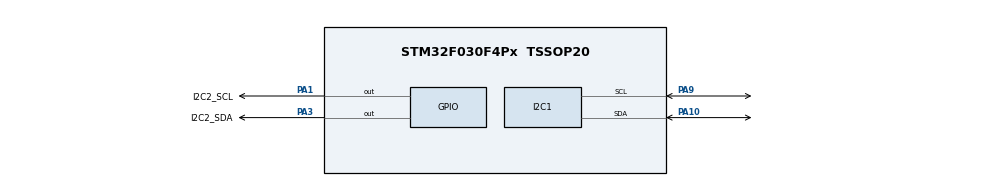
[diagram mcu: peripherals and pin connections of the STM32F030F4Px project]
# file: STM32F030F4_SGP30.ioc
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I2C1.I2C_Fall_Time=100
I2C1.I2C_Rise_Time=100
I2C1.Timing=0x00201D2B
Mcu.Family=STM32F0
Mcu.Name=STM32F030F4Px
Mcu.Package=TSSOP20
PA1.GPIO_Label=I2C2_SCL
PA1.Signal=GPIO_Output
PA10.Mode=I2C
PA10.Signal=I2C1_SDA
PA13.GPIO_Label=SWDIO
PA13.Mode=Serial_Wire
PA13.Signal=SYS_SWDIO
PA14.GPIO_Label=SWCLK
PA14.Mode=Serial_Wire
PA14.Signal=SYS_SWCLK
PA3.GPIO_Label=I2C2_SDA
PA3.Signal=GPIO_Output
PA9.Mode=I2C
PA9.Signal=I2C1_SCL
ProjectManager.HeapSize=0x200
ProjectManager.StackSize=0x400
ProjectManager.TargetToolchain=MDK-ARM V5.27
board=custom

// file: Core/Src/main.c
/* USER CODE BEGIN Header */
/**
  ******************************************************************************
  * @file           : main.c
  * @brief          : Main program body
  ******************************************************************************
  * @attention
  *
  * <h2><center>&copy; Copyright (c) 2021 STMicroelectronics.
  * All rights reserved.</center></h2>
  *
  * This software component is licensed by ST under BSD 3-Clause license,
  * the "License"; You may not use this file except in compliance with the
  * License. You may obtain a copy of the License at:
  *                        opensource.org/licenses/BSD-3-Clause
  *
  ******************************************************************************
  */
/* USER CODE END Header */
#include "main.h"

/* USER CODE BEGIN Includes */
#include "sgp30.h"
#include "stdlib.h"
/* USER CODE END Includes */

/* USER CODE BEGIN PM */
#define master_command_request_readings 0xC
/* USER CODE END PM */

I2C_HandleTypeDef hi2c1;

/* USER CODE BEGIN PV */
uint16_t received_data_size = 7;																																																		//Need to be confirmed. The address included in or not.
uint16_t transmitted_data_size = 7;
uint32_t receiver_timeout = 10000;
uint32_t transmitter_timeout = 10000;
/* USER CODE END PV */

void SystemClock_Config(void);
static void MX_GPIO_Init(void);
static void MX_I2C1_Init(void);
/* USER CODE BEGIN PFP */
void transmit_to_master(uint16_t tvoc_ppb, uint16_t co2_eq_ppm);
/* USER CODE END PFP */

int main(void)
{

  /* MCU Configuration--------------------------------------------------------*/

  /* Reset of all peripherals, Initializes the Flash interface and the Systick. */
  HAL_Init();

  /* Configure the system clock */
  SystemClock_Config();

  /* Initialize all configured peripherals */
  MX_GPIO_Init();
  MX_I2C1_Init();
  /* USER CODE BEGIN 2 */
	s16 check = sgp_probe();
  /* USER CODE END 2 */

  /* Infinite loop */
  /* USER CODE BEGIN WHILE */
	uint8_t received_data[received_data_size];
	uint16_t tvoc_ppb, co2_eq_ppm;
	uint8_t blank_data[7] = {0, 0, 0, 0, 0, 0, 0};

	//Test.
	//sgp_measure_iaq_blocking_read(&tvoc_ppb, &co2_eq_ppm);
	//transmit_to_master(tvoc_ppb, co2_eq_ppm);

  while (1)
  {
    /* USER CODE END WHILE */
		HAL_I2C_Slave_Receive(&hi2c1, received_data, received_data_size, receiver_timeout);
		switch(received_data[1]){																																																		//Need to be confirmed. The address included in or not.
			case master_command_request_readings:
				sgp_measure_iaq_blocking_read(&tvoc_ppb, &co2_eq_ppm);
				transmit_to_master(tvoc_ppb, co2_eq_ppm);
				break;
			default:
				// Send blank data by default.
				HAL_I2C_Slave_Transmit(&hi2c1, blank_data, transmitted_data_size, transmitter_timeout);
		}

  }
}

void SystemClock_Config(void)
{
  RCC_OscInitTypeDef RCC_OscInitStruct = {0};
  RCC_ClkInitTypeDef RCC_ClkInitStruct = {0};
  RCC_PeriphCLKInitTypeDef PeriphClkInit = {0};

  /** Initializes the RCC Oscillators according to the specified parameters
  * in the RCC_OscInitTypeDef structure.
  */
  RCC_OscInitStruct.OscillatorType = RCC_OSCILLATORTYPE_HSI;
  RCC_OscInitStruct.HSIState = RCC_HSI_ON;
  RCC_OscInitStruct.HSICalibrationValue = RCC_HSICALIBRATION_DEFAULT;
  RCC_OscInitStruct.PLL.PLLState = RCC_PLL_NONE;
  if (HAL_RCC_OscConfig(&RCC_OscInitStruct) != HAL_OK)
  {
    Error_Handler();
  }
  /** Initializes the CPU, AHB and APB buses clocks
  */
  RCC_ClkInitStruct.ClockType = RCC_CLOCKTYPE_HCLK|RCC_CLOCKTYPE_SYSCLK
                              |RCC_CLOCKTYPE_PCLK1;
  RCC_ClkInitStruct.SYSCLKSource = RCC_SYSCLKSOURCE_HSI;
  RCC_ClkInitStruct.AHBCLKDivider = RCC_SYSCLK_DIV1;
  RCC_ClkInitStruct.APB1CLKDivider = RCC_HCLK_DIV1;

  if (HAL_RCC_ClockConfig(&RCC_ClkInitStruct, FLASH_LATENCY_0) != HAL_OK)
  {
    Error_Handler();
  }
  PeriphClkInit.PeriphClockSelection = RCC_PERIPHCLK_I2C1;
  PeriphClkInit.I2c1ClockSelection = RCC_I2C1CLKSOURCE_HSI;
  if (HAL_RCCEx_PeriphCLKConfig(&PeriphClkInit) != HAL_OK)
  {
    Error_Handler();
  }
}

static void MX_I2C1_Init(void)
{

  hi2c1.Instance = I2C1;
  hi2c1.Init.Timing = 0x00201D2B;
  hi2c1.Init.OwnAddress1 = 0;																																																																						//Unknown address.
  hi2c1.Init.AddressingMode = I2C_ADDRESSINGMODE_7BIT;
  hi2c1.Init.DualAddressMode = I2C_DUALADDRESS_DISABLE;
  hi2c1.Init.OwnAddress2 = 0;
  hi2c1.Init.OwnAddress2Masks = I2C_OA2_NOMASK;
  hi2c1.Init.GeneralCallMode = I2C_GENERALCALL_DISABLE;
  hi2c1.Init.NoStretchMode = I2C_NOSTRETCH_DISABLE;
  if (HAL_I2C_Init(&hi2c1) != HAL_OK)
  {
    Error_Handler();
  }
  /** Configure Analogue filter
  */
  if (HAL_I2CEx_ConfigAnalogFilter(&hi2c1, I2C_ANALOGFILTER_ENABLE) != HAL_OK)
  {
    Error_Handler();
  }
  /** Configure Digital filter
  */
  if (HAL_I2CEx_ConfigDigitalFilter(&hi2c1, 0) != HAL_OK)
  {
    Error_Handler();
  }

}

static void MX_GPIO_Init(void)
{
  GPIO_InitTypeDef GPIO_InitStruct = {0};

  /* GPIO Ports Clock Enable */
  __HAL_RCC_GPIOA_CLK_ENABLE();

  /*Configure GPIO pin Output Level */
  HAL_GPIO_WritePin(GPIOA, I2C2_SCL_Pin|I2C2_SDA_Pin, GPIO_PIN_RESET);

  /*Configure GPIO pins : I2C2_SCL_Pin I2C2_SDA_Pin */
  GPIO_InitStruct.Pin = I2C2_SCL_Pin|I2C2_SDA_Pin;
  GPIO_InitStruct.Mode = GPIO_MODE_OUTPUT_PP;
  GPIO_InitStruct.Pull = GPIO_NOPULL;
  GPIO_InitStruct.Speed = GPIO_SPEED_FREQ_LOW;
  HAL_GPIO_Init(GPIOA, &GPIO_InitStruct);

}

/* USER CODE BEGIN 4 */
uint8_t reverse_cal_tvoc(uint16_t tvoc_ppb){
	return (uint8_t)(tvoc_ppb / 1000 * 229 + 13);
}

uint8_t reverse_cal_co2_eq(uint16_t co2_eq_ppm){
	return (uint8_t)((co2_eq_ppm - 400) / 1600 * 229 + 13);
}

uint8_t generate_fake_crc(uint8_t data[]){
																																																																																//TODO: Complete the code.
	return 0;
}

void transmit_to_master(uint16_t tvoc_ppb, uint16_t co2_eq_ppm){
	uint8_t data[7] = {0, 0, 0, 0, 0, 0, 0};
	data[0] = reverse_cal_tvoc(tvoc_ppb);
	data[1] = reverse_cal_co2_eq(co2_eq_ppm);
	data[6] = generate_fake_crc(data);
	HAL_I2C_Slave_Transmit(&hi2c1, data, transmitted_data_size, transmitter_timeout);
}
/* USER CODE END 4 */

void Error_Handler(void)
{
  __disable_irq();
  while (1)
  {
  }
}

/************************ (C) COPYRIGHT STMicroelectronics *****END OF FILE****/
